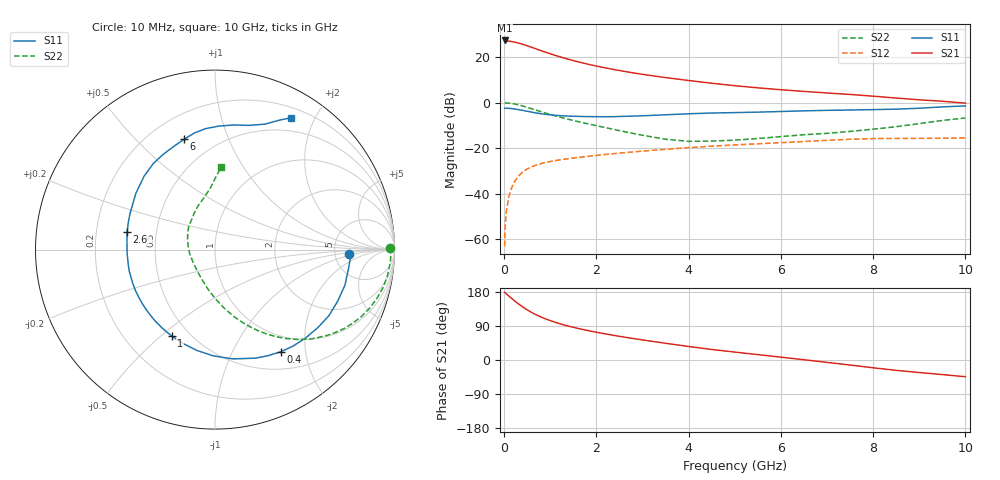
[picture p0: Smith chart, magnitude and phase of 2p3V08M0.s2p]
! (c) 2009  Infineon Technologies AG, Munich
! Infineon Technologies  Discrete & RF Semiconductors
! BFP420
! VCE =  3.0 V,  IC =  8.0 mA
! Common Emitter S-Parameters:  Nov 2009
# GHz  S  MA  R  50
!  f  S11  S21  S12  S22
! GHz  MAG  ANG  MAG  ANG  MAG  ANG  MAG  ANG
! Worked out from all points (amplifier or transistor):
!   46 points, 10 MHz to 10 GHz, reference 50 ohm
!   highest |S21| = 27.3 dB at 10 MHz (marker M1)
!   |S21| within 3 dB of that: start of sweep to 594.4 MHz
!   unconditionally stable (mu >= 1): start of sweep to 10.1 MHz; 2.569 GHz to end of sweep
!   at 300 MHz: K = 0.16, MSG = 29.4 dB, |S12| = -32.6 dB
!   at 1.7 GHz: K = 0.75, MSG = 20.7 dB, |S12| = -23.9 dB
!   at 10 GHz: K = 1.10, MAG = 5.7 dB, |S12| = -15.5 dB
!   lowest NFmin = 0.79 dB at 900 MHz
!   S11 on the Smith chart (normalised r, x): 10 MHz: 6.91, -0.70; 400 MHz: 0.75, -1.57; 1 GHz: 0.40, -0.54; 2.6 GHz: 0.34, +0.09; 6 GHz: 0.34, +0.70; 10 GHz: 0.32, +1.68
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0.01  0.7496 -1.7  23.25 179.0  0.0007 60.7  0.9755 0.6
0.02  0.7566 -3.0  22.61 177.7  0.0018 79.4  0.9801 -1.6
0.05  0.7518 -7.5  22.56 174.3  0.0042 80.0  0.9794 -4.1
0.1  0.7508 -15.3  22.46 169.1  0.0085 80.8  0.9724 -8.5
0.2  0.7337 -30.1  21.67 158.7  0.0164 75.1  0.9424 -16.8
0.3  0.7055 -44.2  20.52 149.0  0.0235 69.0  0.8973 -24.5
0.4  0.6768 -57.3  19.17 140.3  0.0296 63.5  0.8436 -31.4
0.5  0.6456 -69.5  17.75 132.3  0.0348 58.9  0.7873 -37.4
0.7  0.592 -91.0  15.09 119.0  0.0427 51.8  0.6803 -47.4
0.8  0.5706 -100.2  13.88 113.4  0.0458 49.1  0.6329 -51.5
1  0.5387 -116.7  11.86 103.9  0.0508 45.2  0.5505 -58.6
1.3  0.511 -136.6  9.547 92.5  0.057 41.5  0.4549 -67.2
1.7  0.4954 -157.4  7.467 80.7  0.0641 38.4  0.3629 -76.9
2.2  0.4901 -177.7  5.784 68.7  0.0727 35.5  0.2815 -88.1
2.6  0.4994 168.8  4.872 60.5  0.0793 33.3  0.231 -98.3
3.5  0.5409 144.7  3.549 44.1  0.0942 28.3  0.1568 -128.3
4.5  0.5906 125.4  2.668 27.8  0.1103 21.7  0.1427 -170.0
5.5  0.6182 112.1  2.113 14.2  0.1246 15.1  0.1625 160.2
6  0.6384 105.7  1.92 7.5  0.1318 11.8  0.1793 148.0
7  0.6763 94.3  1.63 -6.3  0.1483 4.1  0.2114 128.3
8.5  0.7187 74.4  1.259 -27.3  0.163 -11.1  0.2958 101.9
10  0.8469 60.1  0.973 -44.1  0.1678 -21.2  0.4599 85.8
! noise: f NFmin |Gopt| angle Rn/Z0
0.9  0.79  0.08  30  0.13
1.8  1.14  0.06  171  0.12
2.4  1.24  0.1  160  0.13
3  1.32  0.17  -165  0.12
4  1.46  0.32  -132  0.14
5  1.85  0.39  -110  0.25
6  2.3  0.46  -95  0.37
